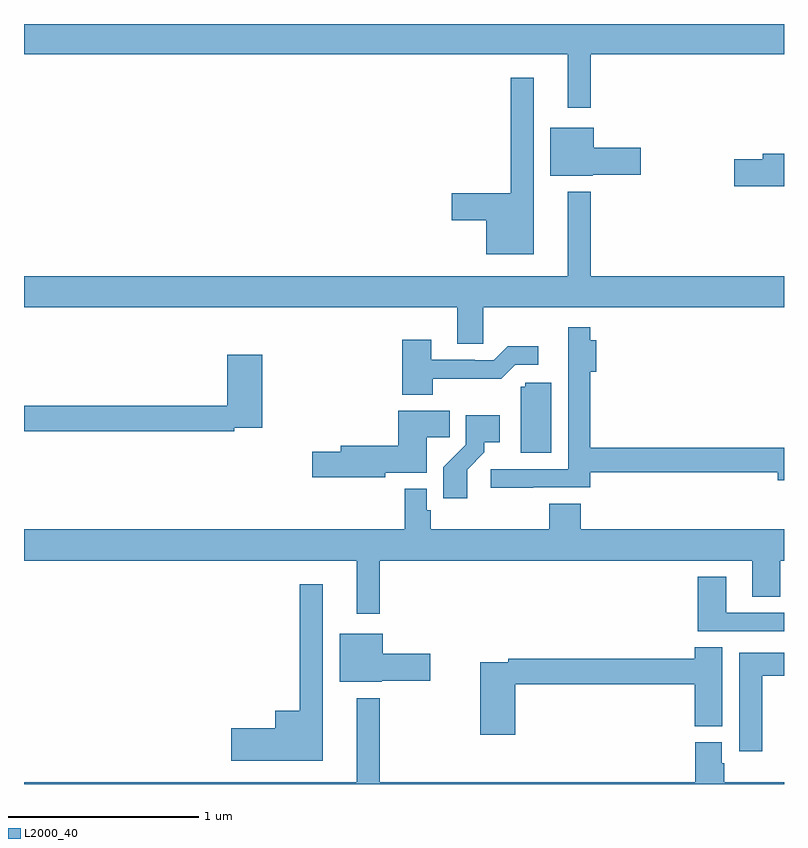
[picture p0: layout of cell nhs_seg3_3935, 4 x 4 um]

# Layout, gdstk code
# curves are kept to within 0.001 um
import gdstk
lib = gdstk.Library(unit=1e-6, precision=1e-09)
def P(c, l, *ps):  # polygons
    for p in ps: c.add(gdstk.Polygon(p, *l))
L2000_40 = (2000, 40)

nhs_seg3_3935 = lib.new_cell('nhs_seg3_3935')
P(nhs_seg3_3935, L2000_40, [(317.983,710.24),(319,710.24),(319,710.4),(315,710.4),(315,710.24),(317.861,710.24),(317.861,709.959),(317.983,709.959)],
  [(317.683,710.116),(317.562,710.116),(317.562,709.508),(317.25,709.508),(317.25,709.366),(317.432,709.366),(317.432,709.187),(317.683,709.187)],
  [(317.994,709.607),(318.247,709.607),(318.247,709.749),(317.998,709.749),(317.998,709.855),(317.771,709.855),(317.771,709.601),(317.994,709.601)],
  [(319,709.718),(318.887,709.718),(318.887,709.688),(318.738,709.688),(318.738,709.546),(319,709.546)],
  [(317.418,708.908),(319,708.908),(319,709.072),(317.983,709.072),(317.983,709.516),(317.861,709.516),(317.861,709.072),(315,709.072),(315,708.908),(317.279,708.908),(317.279,708.718),(317.418,708.718)],
  [(317.681,707.961),(317.981,707.961),(317.981,708.042),(318.968,708.042),(318.968,707.999),(319,707.999),(319,708.17),(317.981,708.17),(317.981,708.571),(318.011,708.571),(318.011,708.736),(317.981,708.736),(317.981,708.805),(317.864,708.805),(317.864,708.582),(317.865,708.582),(317.865,708.057),(317.457,708.057),(317.457,707.959),(317.681,707.959)],
  [(317.151,708.534),(317.513,708.533),(317.586,708.606),(317.707,708.606),(317.707,708.703),(317.545,708.703),(317.472,708.63),(317.372,708.63),(317.372,708.633),(317.143,708.633),(317.143,708.739),(316.991,708.739),(316.991,708.449),(317.151,708.449)],
  [(316.106,708.276),(316.253,708.276),(316.253,708.658),(316.07,708.658),(316.07,708.392),(315,708.392),(315,708.256),(316.106,708.256)],
  [(317.776,708.513),(317.637,708.513),(317.637,708.492),(317.615,708.492),(317.615,708.144),(317.776,708.144)],
  [(316.902,708.038),(317.119,708.038),(317.119,708.226),(317.24,708.226),(317.24,708.364),(316.97,708.364),(316.97,708.179),(316.667,708.179),(316.667,708.149),(316.518,708.149),(316.518,708.014),(316.902,708.014)],
  [(317.332,708.055),(317.422,708.145),(317.422,708.2),(317.503,708.2),(317.503,708.34),(317.325,708.34),(317.325,708.185),(317.206,708.066),(317.206,707.904),(317.332,707.904)],
  [(316.873,707.576),(318.833,707.576),(318.833,707.386),(318.981,707.386),(318.981,707.576),(319,707.576),(319,707.74),(317.93,707.74),(317.93,707.876),(317.765,707.876),(317.765,707.74),(317.141,707.74),(317.141,707.841),(317.121,707.841),(317.121,707.953),(317.005,707.953),(317.005,707.74),(315,707.74),(315,707.576),(316.751,707.576),(316.751,707.295),(316.873,707.295)],
  [(319,707.301),(318.697,707.301),(318.697,707.491),(318.545,707.491),(318.545,707.205),(319,707.205)],
  [(316.573,707.452),(316.452,707.452),(316.452,706.786),(316.322,706.786),(316.322,706.694),(316.092,706.694),(316.092,706.523),(316.573,706.523)],
  [(316.884,706.943),(317.137,706.943),(317.137,707.085),(316.888,707.085),(316.888,707.191),(316.661,707.191),(316.661,706.937),(316.884,706.937)],
  [(317.585,706.924),(318.53,706.924),(318.53,706.705),(318.676,706.705),(318.676,707.12),(318.53,707.12),(318.53,707.06),(317.548,707.06),(317.548,707.04),(317.402,707.04),(317.402,706.659),(317.585,706.659)],
  [(318.886,706.97),(319,706.97),(319,707.092),(318.764,707.092),(318.764,706.572),(318.886,706.572)],
  [(318.686,706.509),(318.673,706.509),(318.673,706.62),(318.533,706.62),(318.533,706.408),(316.873,706.408),(316.873,706.852),(316.751,706.852),(316.751,706.408),(315,706.408),(315,706.4),(319,706.4),(319,706.408),(318.686,706.408)])

lib.write_gds('nhs_seg3_3935.gds')
